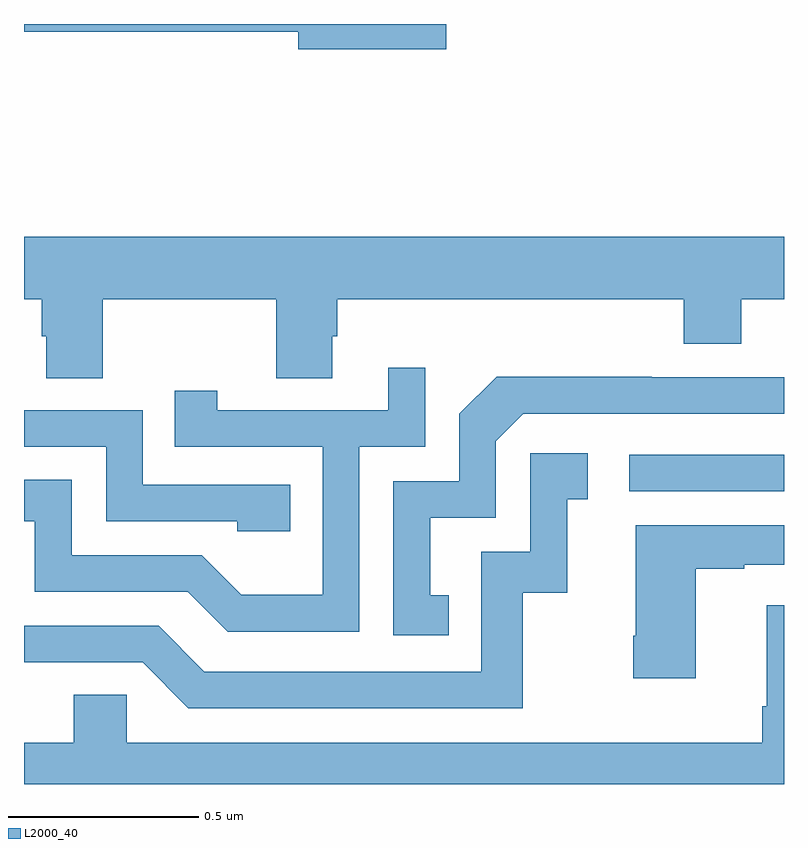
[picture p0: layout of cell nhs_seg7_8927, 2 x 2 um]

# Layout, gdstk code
import gdstk
lib = gdstk.Library(unit=1e-6, precision=1e-09)
def R(c, l, rs):  # rectangles x0, y0, x1, y1
    for r in rs: c.add(gdstk.rectangle(r[:2], r[2:], *l))
def P(c, l, *ps):  # polygons
    for p in ps: c.add(gdstk.Polygon(p, *l))
L2000_40 = (2000, 40)

nhs_seg7_8927 = lib.new_cell('nhs_seg7_8927')
R(nhs_seg7_8927, L2000_40, [(232.593,1006.77,233,1006.866)])
P(nhs_seg7_8927, L2000_40, [(232.111,1008),(231,1008),(231,1007.98),(231.722,1007.98),(231.722,1007.933),(232.111,1007.933)],
  [(231.207,1007.276),(231.664,1007.276),(231.664,1007.068),(231.811,1007.068),(231.811,1007.178),(231.824,1007.178),(231.824,1007.276),(232.736,1007.276),(232.736,1007.159),(232.888,1007.159),(232.888,1007.276),(233,1007.276),(233,1007.44),(231,1007.44),(231,1007.276),(231.047,1007.276),(231.047,1007.178),(231.059,1007.178),(231.059,1007.068),(231.207,1007.068)],
  [(231.882,1006.887),(232.056,1006.887),(232.056,1007.095),(231.959,1007.095),(231.959,1006.983),(231.508,1006.983),(231.508,1007.035),(231.397,1007.035),(231.397,1006.887),(231.786,1006.887),(231.786,1006.498),(231.572,1006.498),(231.468,1006.602),(231.126,1006.602),(231.126,1006.801),(231,1006.801),(231,1006.691),(231.028,1006.691),(231.028,1006.506),(231.431,1006.506),(231.536,1006.401),(231.882,1006.401)],
  [(232.118,1006.497),(232.069,1006.497),(232.069,1006.701),(232.242,1006.701),(232.242,1006.902),(232.314,1006.974),(233,1006.974),(233,1007.07),(232.652,1007.07),(232.652,1007.072),(232.244,1007.072),(232.146,1006.974),(232.146,1006.797),(231.972,1006.797),(231.972,1006.392),(232.118,1006.392)],
  [(231.701,1006.788),(231.312,1006.788),(231.312,1006.983),(231,1006.983),(231,1006.887),(231.216,1006.887),(231.216,1006.692),(231.561,1006.692),(231.561,1006.665),(231.701,1006.665)],
  [(232.312,1006.503),(232.43,1006.503),(232.43,1006.749),(232.483,1006.749),(232.483,1006.87),(232.332,1006.87),(232.332,1006.611),(232.203,1006.611),(232.203,1006.296),(231.474,1006.296),(231.354,1006.416),(231,1006.416),(231,1006.32),(231.312,1006.32),(231.432,1006.2),(232.312,1006.2)],
  [(232.768,1006.567),(232.895,1006.567),(232.895,1006.577),(233,1006.577),(233,1006.681),(232.61,1006.681),(232.61,1006.39),(232.603,1006.39),(232.603,1006.278),(232.768,1006.278)],
  [(233,1006.471),(232.955,1006.471),(232.955,1006.204),(232.943,1006.204),(232.943,1006.108),(231.27,1006.108),(231.27,1006.235),(231.131,1006.235),(231.131,1006.108),(231,1006.108),(231,1006),(233,1006)])

lib.write_gds('nhs_seg7_8927.gds')
